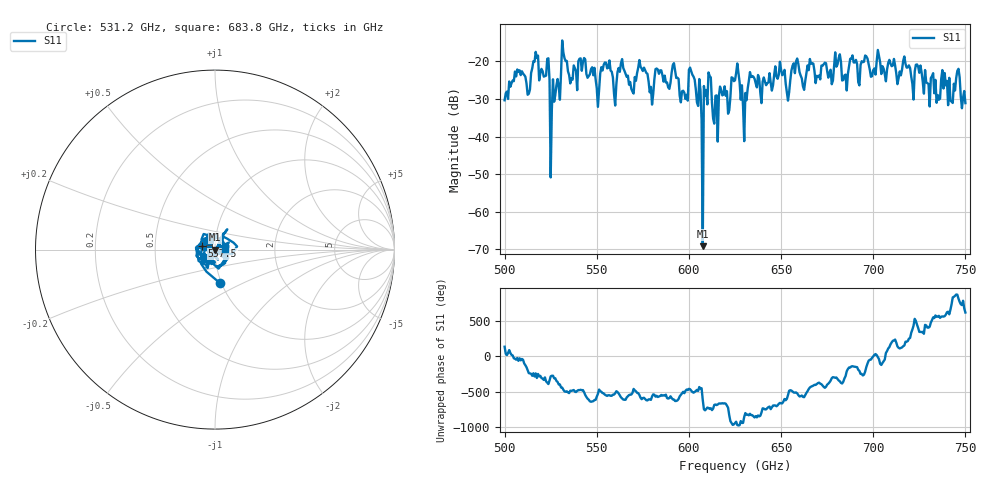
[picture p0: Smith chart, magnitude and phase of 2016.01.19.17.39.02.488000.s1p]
!Created with skrf (http://scikit-rf.org).
# GHz S RI R 50.0
!freq ReS11 ImS11
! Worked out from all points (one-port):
!   401 points, 500 GHz to 750 GHz, reference 50 ohm
!   lowest |S11| = -69.2 dB at 607.5 GHz (marker M1), VSWR 1.00, Z = 50 + j0.0331 ohm
!   |S11| at or under -10 dB: start of sweep to end of sweep
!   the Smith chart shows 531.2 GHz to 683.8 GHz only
!   S11 on the Smith chart (normalised r, x): 531.2 GHz: 0.99, -0.38; 557.5 GHz: 0.86, +0.04; 683.8 GHz: 1.12, +0.00
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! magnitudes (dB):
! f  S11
! 500 GHz  -30.3
! 506.9 GHz  -22.1
! 513.1 GHz  -28.6
! 516.9 GHz  -17.4
! 523.1 GHz  -19.3
! 526.2 GHz  -24.8
! 531.2 GHz  -14.4
! 550.6 GHz  -32.1
! 557.5 GHz  -22.4
! 562.5 GHz  -22.8
! 568.8 GHz  -27.3
! 573.8 GHz  -21.4
! 579.4 GHz  -26.8
! 593.8 GHz  -24.3
! 598.1 GHz  -30.0
! 601.9 GHz  -23.5
! 607.5 GHz  -69.2
! 610.6 GHz  -22.9
! 614.4 GHz  -29.2
! 625 GHz  -25.0
! 630.6 GHz  -28.4
! 633.8 GHz  -24.2
! 653.8 GHz  -30.4
! 656.2 GHz  -21.1
! 683.8 GHz  -25.0
! 687.5 GHz  -19.3
! 718.8 GHz  -21.6
! 750 GHz  -31.1
